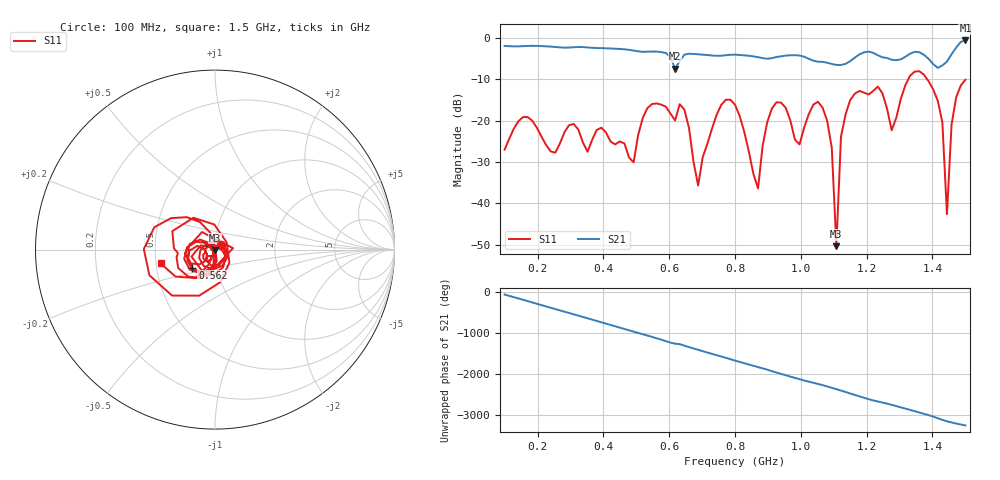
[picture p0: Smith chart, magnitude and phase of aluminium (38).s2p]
! NanoVNA-App
! Date: 2025-09-25 14:55:34
! Start: 100MHz Stop: 1,5GHz Points: 101
! S-Parameter data: F S11 S21 S12 S22
# Hz S RI R 50
!  Frequency  S11_Real  S11_Imag  S21_Real  S21_Imag  S12_Real  S12_Imag  S22_Real  S22_Imag
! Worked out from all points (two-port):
!   101 points, 100 MHz to 1.5 GHz, reference 50 ohm
!   highest |S21| = -0.59 dB at 1.5 GHz (marker M1); lowest = -7.4 dB at 618 MHz (marker M2)
!   |S21| within 3 dB of the highest: start of sweep to 588 MHz; 1.188 GHz to 1.22 GHz (31.74 MHz wide, 2.64 % of centre) (the widest 2 of 4)
!   lowest |S11| = -50.3 dB at 1.108 GHz (marker M3), VSWR 1.01, Z = 50.2 - j0.249 ohm
!   |S11| at or under -10 dB: start of sweep to 1.326 GHz; 1.384 GHz to end of sweep
!   S12 and S22 are empty: the file has one direction only
!   S11 on the Smith chart (normalised r, x): 100 MHz: 1.07, +0.06; 562 MHz: 0.76, -0.16; 1.5 GHz: 0.53, -0.09
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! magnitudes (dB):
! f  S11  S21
! 100 MHz  -27.0  -1.9
! 338 MHz  -25.3  -2.2
! 492 MHz  -30.1  -3.0
! 562 MHz  -15.8  -3.3
! 576 MHz  -16.1  -3.4
! 618 MHz  -19.9  -7.4
! 688 MHz  -35.7  -3.9
! 800 MHz  -16.1  -4.0
! 870 MHz  -36.4  -4.6
! 912 MHz  -17.1  -4.9
! 996 MHz  -25.7  -4.2
! 1.038 GHz  -16.1  -5.5
! 1.094 GHz  -26.5  -6.3
! 1.108 GHz  -50.3  -6.5
! 1.122 GHz  -23.9  -6.5
! 1.15 GHz  -15.0  -5.6
! 1.276 GHz  -22.3  -5.3
! 1.388 GHz  -10.4  -5.0
! 1.43 GHz  -20.4  -6.6
! 1.444 GHz  -42.6  -5.7
! 1.458 GHz  -20.9  -3.9
! 1.5 GHz  -10.1  -0.6
